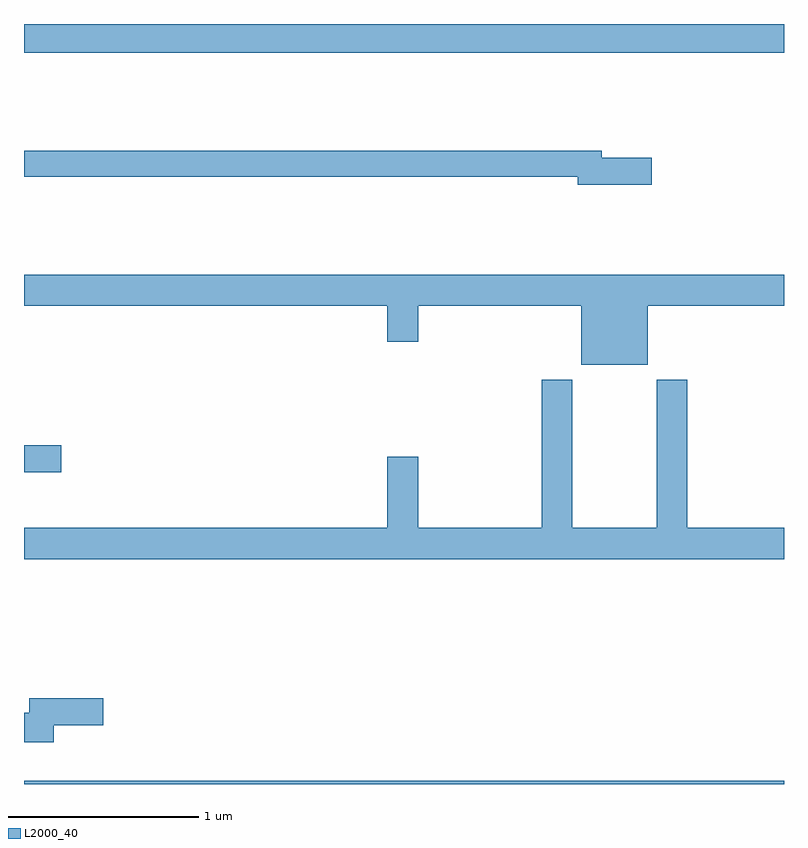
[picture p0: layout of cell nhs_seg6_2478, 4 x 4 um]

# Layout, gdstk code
import gdstk
lib = gdstk.Library(unit=1e-6, precision=1e-09)
def R(c, l, rs):  # rectangles x0, y0, x1, y1
    for r in rs: c.add(gdstk.rectangle(r[:2], r[2:], *l))
def P(c, l, *ps):  # polygons
    for p in ps: c.add(gdstk.Polygon(p, *l))
L2000_40 = (2000, 40)

nhs_seg6_2478 = lib.new_cell('nhs_seg6_2478')
R(nhs_seg6_2478, L2000_40, [(259,931.5,263,931.516), (259,933.142,259.195,933.284), (259,935.348,263,935.5)])
P(nhs_seg6_2478, L2000_40, [(262.303,934.796),(262.042,934.796),(262.042,934.832),(259,934.832),(259,934.696),(261.914,934.696),(261.914,934.654),(262.303,934.654)],
  [(262.282,934.016),(263,934.016),(263,934.18),(259,934.18),(259,934.016),(260.912,934.016),(260.912,933.828),(261.076,933.828),(261.076,934.016),(261.932,934.016),(261.932,933.707),(262.282,933.707)],
  [(263,932.848),(262.49,932.848),(262.49,933.628),(262.33,933.628),(262.33,932.848),(261.885,932.848),(261.885,933.628),(261.725,933.628),(261.725,932.848),(261.076,932.848),(261.076,933.223),(260.912,933.223),(260.912,932.848),(259,932.848),(259,932.684),(263,932.684)],
  [(259.156,931.81),(259.416,931.81),(259.416,931.952),(259.028,931.952),(259.028,931.874),(259,931.874),(259,931.721),(259.156,931.721)])

lib.write_gds('nhs_seg6_2478.gds')
